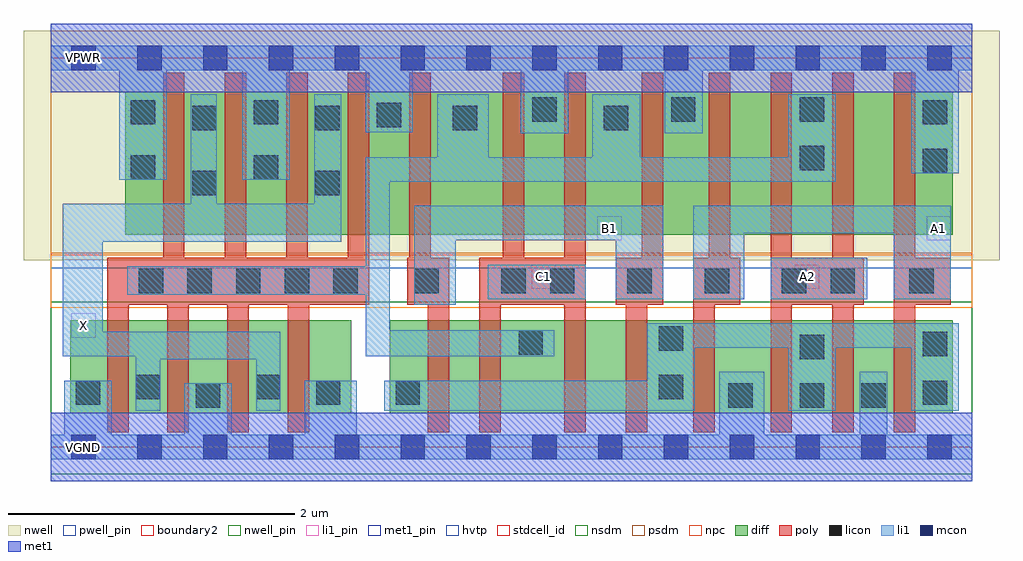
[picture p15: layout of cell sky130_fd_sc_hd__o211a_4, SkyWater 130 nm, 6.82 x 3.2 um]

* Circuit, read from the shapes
.subckt sky130_fd_sc_hd__o211a_4 A1 A2 B1 C1 VGND VNB VPB VPWR X
XM1 X n1 VGND VNB sky130_fd_pr__nfet_01v8 w=0.65 l=0.15 m=4
XM2 n2 B1 n3 VNB sky130_fd_pr__nfet_01v8 w=0.65 l=0.15
XM3 n1 C1 n2 VNB sky130_fd_pr__nfet_01v8 w=0.65 l=0.15
XM4 n4 C1 n1 VNB sky130_fd_pr__nfet_01v8 w=0.65 l=0.15
XM5 n3 B1 n4 VNB sky130_fd_pr__nfet_01v8 w=0.65 l=0.15
XM6 VGND A1 n3 VNB sky130_fd_pr__nfet_01v8 w=0.65 l=0.15 m=2
XM7 n3 A2 VGND VNB sky130_fd_pr__nfet_01v8 w=0.65 l=0.15 m=2
XM8 X n1 VPWR VPB sky130_fd_pr__pfet_01v8_hvt w=1 l=0.15 m=4
XM9 n1 B1 VPWR VPB sky130_fd_pr__pfet_01v8_hvt w=1 l=0.15 m=2
XM10 VPWR C1 n1 VPB sky130_fd_pr__pfet_01v8_hvt w=1 l=0.15 m=2
XM11 n5 A1 VPWR VPB sky130_fd_pr__pfet_01v8_hvt w=1 l=0.15
XM12 n1 A2 n5 VPB sky130_fd_pr__pfet_01v8_hvt w=1 l=0.15
XM13 n6 A2 n1 VPB sky130_fd_pr__pfet_01v8_hvt w=1 l=0.15
XM14 VPWR A1 n6 VPB sky130_fd_pr__pfet_01v8_hvt w=1 l=0.15
.ends

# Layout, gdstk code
import gdstk
lib = gdstk.Library(unit=1e-6, precision=1e-09)
def R(c, l, rs):  # rectangles x0, y0, x1, y1
    for r in rs: c.add(gdstk.rectangle(r[:2], r[2:], *l))
def A(c, l, x, y, w, h, nx, ny, dx, dy):  # array of equal rectangles
    R(c, l, [(x+i*dx, y+j*dy, x+i*dx+w, y+j*dy+h) for i in range(nx) for j in range(ny)])
def P(c, l, *ps):  # polygons
    for p in ps: c.add(gdstk.Polygon(p, *l))
nwell_pin = (64, 16)
nwell = (64, 20)
diff = (65, 20)
poly = (66, 20)
licon = (66, 44)
li1_pin = (67, 16)
li1 = (67, 20)
mcon = (67, 44)
met1_pin = (68, 16)
met1 = (68, 20)
hvtp = (78, 44)
stdcell_id = (81, 4)
nsdm = (93, 44)
psdm = (94, 20)
npc = (95, 20)
pwell_pin = (122, 16)
boundary2 = (236, 0)

sky130_fd_sc_hd__o211a_4 = lib.new_cell('sky130_fd_sc_hd__o211a_4')
R(sky130_fd_sc_hd__o211a_4, nwell_pin, [(0.145,2.635,0.315,2.805)])
R(sky130_fd_sc_hd__o211a_4, nwell, [(-0.19,1.305,6.63,2.91)])
R(sky130_fd_sc_hd__o211a_4, diff, [(0.135,0.235,2.1,0.885), (2.37,0.235,6.305,0.885), (0.52,1.485,6.305,2.485)])
P(sky130_fd_sc_hd__o211a_4, poly, [(4.02,0.105),(4.02,0.995),(3.95,0.995),(3.95,1.325),(4.13,1.325),(4.13,2.615),(4.28,2.615),(4.28,0.995),(4.17,0.995),(4.17,0.105)],
  [(4.49,0.105),(4.49,1.325),(4.6,1.325),(4.6,2.615),(4.75,2.615),(4.75,1.325),(4.82,1.325),(4.82,0.995),(4.64,0.995),(4.64,0.105)],
  [(5.03,0.105),(5.03,2.615),(5.18,2.615),(5.18,1.325),(5.46,1.325),(5.46,2.615),(5.61,2.615),(5.61,1.325),(5.68,1.325),(5.68,0.995),(5.61,0.995),(5.61,0.105),(5.46,0.105),(5.46,0.995),(5.18,0.995),(5.18,0.105)],
  [(2.635,0.105),(2.635,0.995),(2.49,0.995),(2.49,1.325),(2.505,1.325),(2.505,2.615),(2.655,2.615),(2.655,1.325),(2.785,1.325),(2.785,0.105)],
  [(5.89,0.105),(5.89,2.615),(6.04,2.615),(6.04,1.325),(6.29,1.325),(6.29,0.995),(6.04,0.995),(6.04,0.105)],
  [(2.995,0.105),(2.995,1.325),(3.16,1.325),(3.16,2.615),(3.31,2.615),(3.31,1.325),(3.59,1.325),(3.59,2.615),(3.74,2.615),(3.74,0.105),(3.59,0.105),(3.59,0.995),(3.145,0.995),(3.145,0.105)],
  [(0.395,0.105),(0.395,1.325),(0.785,1.325),(0.785,2.615),(0.935,2.615),(0.935,1.325),(1.215,1.325),(1.215,2.615),(1.365,2.615),(1.365,1.325),(1.645,1.325),(1.645,2.615),(1.795,2.615),(1.795,1.325),(2.075,1.325),(2.075,2.615),(2.225,2.615),(2.225,0.995),(1.805,0.995),(1.805,0.105),(1.655,0.105),(1.655,0.995),(1.385,0.995),(1.385,0.105),(1.235,0.105),(1.235,0.995),(0.965,0.995),(0.965,0.105),(0.815,0.105),(0.815,0.995),(0.545,0.995),(0.545,0.105)])
A(sky130_fd_sc_hd__o211a_4, licon, 0.615, 1.075, 0.17, 0.17, 5, 1, 0.34, 0)
A(sky130_fd_sc_hd__o211a_4, licon, 3.49, 1.075, 0.17, 0.17, 4, 1, 0.54, 0)
R(sky130_fd_sc_hd__o211a_4, licon, [(1.015,0.275,1.185,0.445), (4.735,0.275,4.905,0.445), (5.235,0.275,5.405,0.445), (5.665,0.275,5.835,0.445), (0.175,0.295,0.345,0.465), (1.855,0.295,2.025,0.465), (2.41,0.295,2.58,0.465), (6.095,0.295,6.265,0.465), (0.595,0.335,0.765,0.505), (1.435,0.335,1.605,0.505), (4.25,0.335,4.42,0.505), (5.235,0.615,5.405,0.785), (6.095,0.635,6.265,0.805), (3.27,0.645,3.44,0.815), (4.25,0.675,4.42,0.845), (2.54,1.075,2.71,1.245), (3.15,1.075,3.32,1.245), (5.45,1.075,5.62,1.245), (6,1.075,6.17,1.245), (0.99,1.76,1.16,1.93), (1.85,1.76,2.02,1.93), (0.56,1.87,0.73,2.04), (1.42,1.87,1.59,2.04), (6.095,1.915,6.265,2.085), (5.235,1.935,5.405,2.105), (0.99,2.215,1.16,2.385), (1.85,2.215,2.02,2.385), (2.81,2.215,2.98,2.385), (3.865,2.215,4.035,2.385), (2.28,2.235,2.45,2.405), (0.56,2.255,0.73,2.425), (1.42,2.255,1.59,2.425), (6.095,2.255,6.265,2.425), (3.365,2.275,3.535,2.445), (4.335,2.275,4.505,2.445), (5.235,2.275,5.405,2.445)])
R(sky130_fd_sc_hd__o211a_4, li1_pin, [(0.145,0.765,0.315,0.935), (3.36,1.105,3.53,1.275), (5.2,1.105,5.37,1.275), (3.82,1.445,3.99,1.615), (6.12,1.445,6.29,1.615)])
R(sky130_fd_sc_hd__o211a_4, li1, [(3.055,1.035,3.74,1.275), (5.03,1.035,5.705,1.325)])
P(sky130_fd_sc_hd__o211a_4, li1, [(2.2,0.635),(2.2,1.065),(0.535,1.065),(0.535,1.265),(2.2,1.265),(2.2,2.025),(2.7,2.025),(2.7,2.465),(3.06,2.465),(3.06,2.025),(3.785,2.025),(3.785,2.465),(4.12,2.465),(4.12,2.025),(5.155,2.025),(5.155,2.465),(5.485,2.465),(5.485,1.855),(2.37,1.855),(2.37,0.815),(3.52,0.815),(3.52,0.635)],
  [(4.49,1.035),(4.49,1.685),(6.29,1.685),(6.29,1.035),(5.89,1.035),(5.89,1.495),(4.845,1.495),(4.845,1.035)],
  [(2.54,0.995),(2.54,1.685),(4.28,1.685),(4.28,1.035),(3.95,1.035),(3.95,1.445),(2.83,1.445),(2.83,0.995)],
  [(0,-0.085),(0,0.085),(0.095,0.085),(0.095,0.465),(0.425,0.465),(0.425,0.085),(0.935,0.085),(0.935,0.445),(1.265,0.445),(1.265,0.085),(1.775,0.085),(1.775,0.465),(2.14,0.465),(2.14,0.085),(4.67,0.085),(4.67,0.525),(4.985,0.525),(4.985,0.085),(5.655,0.085),(5.655,0.525),(5.845,0.525),(5.845,0.085),(6.44,0.085),(6.44,-0.085)],
  [(2.33,0.255),(2.33,0.465),(4.17,0.465),(4.17,0.865),(6.345,0.865),(6.345,0.255),(6.015,0.255),(6.015,0.695),(5.485,0.695),(5.485,0.255),(5.155,0.255),(5.155,0.695),(4.5,0.695),(4.5,0.255)],
  [(0.48,1.87),(0.48,2.635),(0,2.635),(0,2.805),(6.44,2.805),(6.44,2.635),(6.345,2.635),(6.345,1.915),(6.015,1.915),(6.015,2.635),(4.555,2.635),(4.555,2.195),(4.29,2.195),(4.29,2.635),(3.615,2.635),(3.615,2.195),(3.285,2.195),(3.285,2.635),(2.53,2.635),(2.53,2.2),(2.2,2.2),(2.2,2.635),(1.67,2.635),(1.67,1.87),(1.34,1.87),(1.34,2.635),(0.81,2.635),(0.81,1.87)],
  [(0.595,0.255),(0.595,0.635),(0.085,0.635),(0.085,1.7),(0.98,1.7),(0.98,2.465),(1.16,2.465),(1.16,1.7),(1.84,1.7),(1.84,2.465),(2.03,2.465),(2.03,1.435),(0.365,1.435),(0.365,0.805),(1.605,0.805),(1.605,0.255),(1.435,0.255),(1.435,0.615),(0.765,0.615),(0.765,0.255)])
A(sky130_fd_sc_hd__o211a_4, mcon, 0.145, -0.085, 0.17, 0.17, 14, 2, 0.46, 2.72)
R(sky130_fd_sc_hd__o211a_4, met1_pin, [(0.145,-0.085,0.315,0.085), (0.145,2.635,0.315,2.805)])
R(sky130_fd_sc_hd__o211a_4, hvtp, [(0,1.25,6.44,2.72)])
R(sky130_fd_sc_hd__o211a_4, stdcell_id, [(0,0,6.44,2.72)])
R(sky130_fd_sc_hd__o211a_4, nsdm, [(0,-0.19,6.44,1.015)])
R(sky130_fd_sc_hd__o211a_4, psdm, [(0,1.355,6.44,2.91)])
R(sky130_fd_sc_hd__o211a_4, npc, [(0,0.975,6.44,1.345)])
R(sky130_fd_sc_hd__o211a_4, pwell_pin, [(0.145,-0.085,0.315,0.085)])
R(sky130_fd_sc_hd__o211a_4, boundary2, [(0,0,6.44,2.72)])
sky130_fd_sc_hd__o211a_4.add(gdstk.FlexPath([(0,0),(6.44,0)], 0.48, ends="flush", simple_path=True, layer=68, datatype=20))  # met1
sky130_fd_sc_hd__o211a_4.add(gdstk.FlexPath([(0,2.72),(6.44,2.72)], 0.48, ends="flush", simple_path=True, layer=68, datatype=20))  # met1
sky130_fd_sc_hd__o211a_4.add(gdstk.Label('VPWR', (0.23,2.72), layer=68, texttype=5))
sky130_fd_sc_hd__o211a_4.add(gdstk.Label('VGND', (0.23,0), layer=68, texttype=5))
sky130_fd_sc_hd__o211a_4.add(gdstk.Label('VPB', (0.23,2.72), layer=64, texttype=5))
sky130_fd_sc_hd__o211a_4.add(gdstk.Label('VNB', (0.23,0), layer=64, texttype=59))
sky130_fd_sc_hd__o211a_4.add(gdstk.Label('o211a_4', (0,0), layer=83, texttype=44))
sky130_fd_sc_hd__o211a_4.add(gdstk.Label('B1', (3.905,1.53), layer=67, texttype=5))
sky130_fd_sc_hd__o211a_4.add(gdstk.Label('A2', (5.285,1.19), layer=67, texttype=5))
sky130_fd_sc_hd__o211a_4.add(gdstk.Label('X', (0.23,0.85), layer=67, texttype=5))
sky130_fd_sc_hd__o211a_4.add(gdstk.Label('C1', (3.445,1.19), layer=67, texttype=5))
sky130_fd_sc_hd__o211a_4.add(gdstk.Label('A1', (6.205,1.53), layer=67, texttype=5))

lib.write_gds('sky130_fd_sc_hd__o211a_4.gds')
